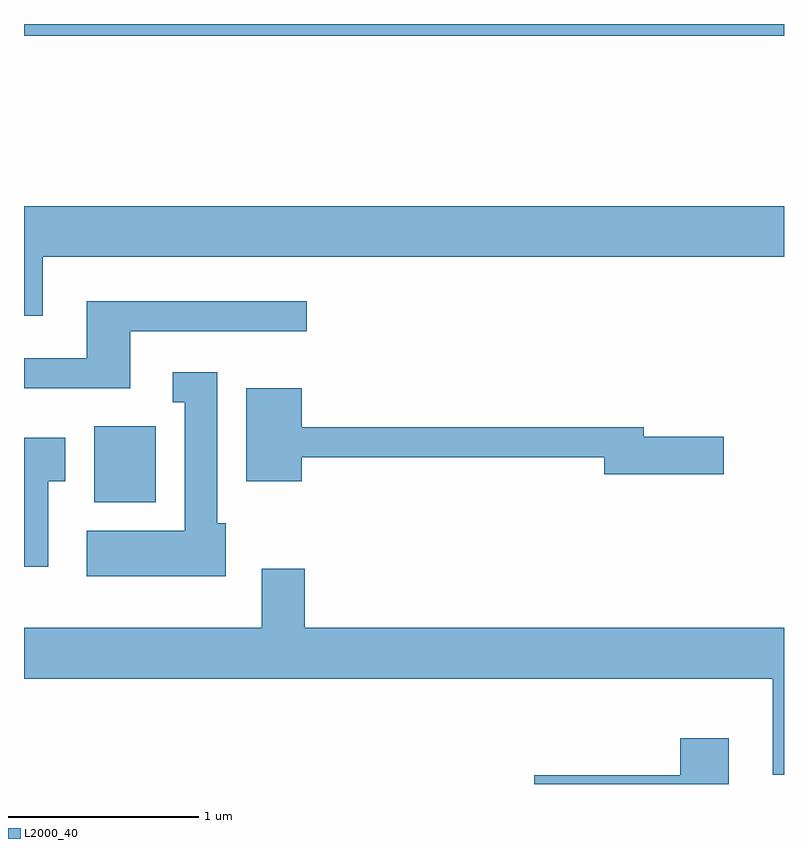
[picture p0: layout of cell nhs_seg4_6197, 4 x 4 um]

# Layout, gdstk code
import gdstk
lib = gdstk.Library(unit=1e-6, precision=1e-09)
def R(c, l, rs):  # rectangles x0, y0, x1, y1
    for r in rs: c.add(gdstk.rectangle(r[:2], r[2:], *l))
def P(c, l, *ps):  # polygons
    for p in ps: c.add(gdstk.Polygon(p, *l))
L2000_40 = (2000, 40)

nhs_seg4_6197 = lib.new_cell('nhs_seg4_6197')
R(nhs_seg4_6197, L2000_40, [(367.981,1273.466,368.304,1273.864), (367.611,1275.921,371.611,1275.982)])
P(nhs_seg4_6197, L2000_40, [(367.709,1274.756),(371.611,1274.756),(371.611,1275.024),(367.611,1275.024),(367.611,1274.446),(367.709,1274.446)],
  [(368.169,1274.366),(369.098,1274.366),(369.098,1274.524),(367.941,1274.524),(367.941,1274.224),(367.611,1274.224),(367.611,1274.066),(368.169,1274.066)],
  [(368.674,1273.354),(368.629,1273.354),(368.629,1274.149),(368.393,1274.149),(368.393,1273.991),(368.456,1273.991),(368.456,1273.314),(367.941,1273.314),(367.941,1273.076),(368.674,1273.076)],
  [(369.074,1273.701),(370.666,1273.701),(370.666,1273.611),(371.294,1273.611),(371.294,1273.809),(370.874,1273.809),(370.874,1273.859),(369.074,1273.859),(369.074,1274.064),(368.781,1274.064),(368.781,1273.576),(369.074,1273.576)],
  [(367.739,1273.576),(367.829,1273.576),(367.829,1273.804),(367.611,1273.804),(367.611,1273.126),(367.739,1273.126)],
  [(371.611,1272.804),(369.089,1272.804),(369.089,1273.114),(368.861,1273.114),(368.861,1272.804),(367.611,1272.804),(367.611,1272.536),(371.551,1272.536),(371.551,1272.031),(371.611,1272.031)],
  [(371.319,1272.224),(371.066,1272.224),(371.066,1272.029),(370.296,1272.029),(370.296,1271.982),(371.319,1271.982)])

lib.write_gds('nhs_seg4_6197.gds')
